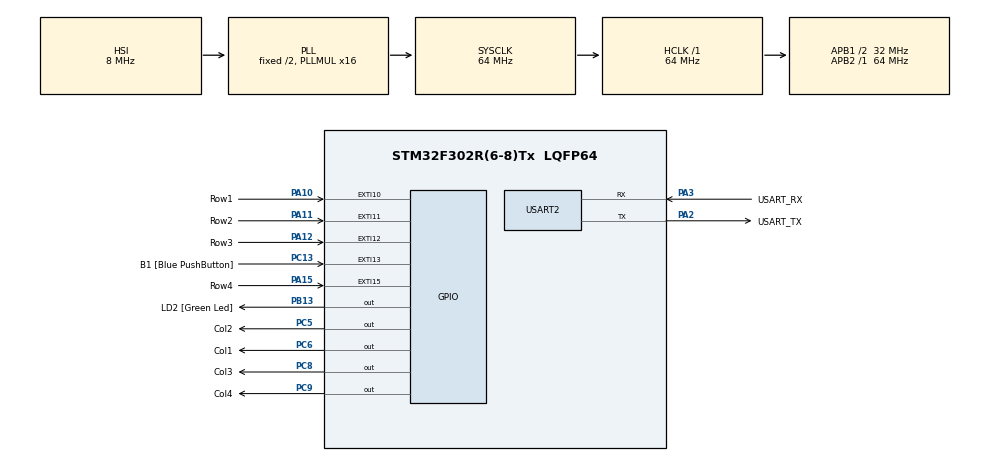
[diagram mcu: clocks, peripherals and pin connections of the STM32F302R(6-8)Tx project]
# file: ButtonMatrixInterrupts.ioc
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Mcu.Family=STM32F3
Mcu.Name=STM32F302R(6-8)Tx
Mcu.Package=LQFP64
NVIC.EXTI15_10_IRQn=true\:0\:0\:false\:false\:true\:true\:true
NVIC.PriorityGroup=NVIC_PRIORITYGROUP_0
PA10.GPIO_Label=Row1
PA10.GPIO_ModeDefaultEXTI=GPIO_MODE_IT_FALLING
PA10.GPIO_PuPd=GPIO_PULLUP
PA10.Signal=GPXTI10
PA11.GPIO_Label=Row2
PA11.GPIO_PuPd=GPIO_PULLUP
PA11.Signal=GPXTI11
PA12.GPIO_Label=Row3
PA12.GPIO_PuPd=GPIO_PULLUP
PA12.Signal=GPXTI12
PA13.GPIO_Label=TMS
PA13.Mode=Serial_Wire
PA13.Signal=SYS_JTMS-SWDIO
PA14.GPIO_Label=TCK
PA14.Mode=Serial_Wire
PA14.Signal=SYS_JTCK-SWCLK
PA15.GPIO_Label=Row4
PA15.GPIO_PuPd=GPIO_PULLUP
PA15.Signal=GPXTI15
PA2.GPIO_Label=USART_TX
PA2.GPIO_Mode=GPIO_MODE_AF_PP
PA2.GPIO_PuPd=GPIO_NOPULL
PA2.GPIO_Speed=GPIO_SPEED_FREQ_LOW
PA2.Mode=Asynchronous
PA2.Signal=USART2_TX
PA3.GPIO_Label=USART_RX
PA3.GPIO_Mode=GPIO_MODE_AF_PP
PA3.GPIO_PuPd=GPIO_NOPULL
PA3.GPIO_Speed=GPIO_SPEED_FREQ_LOW
PA3.Mode=Asynchronous
PA3.Signal=USART2_RX
PB13.GPIO_Label=LD2 [Green Led]
PB13.Signal=GPIO_Output
PB3.GPIO_Label=SWO
PB3.Mode=Trace_Asynchronous_SW
PB3.Signal=SYS_JTDO-TRACESWO
PC13.GPIO_Label=B1 [Blue PushButton]
PC13.GPIO_ModeDefaultEXTI=GPIO_MODE_IT_FALLING
PC13.Signal=GPXTI13
PC14\ -\ OSC32_IN.Mode=LSE-External-Oscillator
PC14\ -\ OSC32_IN.Signal=RCC_OSC32_IN
PC15\ -\ OSC32_OUT.Mode=LSE-External-Oscillator
PC15\ -\ OSC32_OUT.Signal=RCC_OSC32_OUT
PC5.GPIO_Label=Col2
PC5.Signal=GPIO_Output
PC6.GPIO_Label=Col1
PC6.Signal=GPIO_Output
PC8.GPIO_Label=Col3
PC8.Signal=GPIO_Output
PC9.GPIO_Label=Col4
PC9.Signal=GPIO_Output
PF0-OSC_IN.Mode=HSE-External-Clock-Source
PF0-OSC_IN.Signal=RCC_OSC_IN
PF1-OSC_OUT.Signal=RCC_OSC_OUT
ProjectManager.HeapSize=0x200
ProjectManager.StackSize=0x400
ProjectManager.TargetToolchain=STM32CubeIDE
RCC.AHBFreq_Value=64000000
RCC.APB1CLKDivider=RCC_HCLK_DIV2
RCC.APB1Freq_Value=32000000
RCC.APB1TimFreq_Value=64000000
RCC.APB2Freq_Value=64000000
RCC.APB2TimFreq_Value=64000000
RCC.CortexFreq_Value=64000000
RCC.HCLKFreq_Value=64000000
RCC.HSE_VALUE=8000000
RCC.HSI_VALUE=8000000
RCC.PLLM=8
RCC.PLLMUL=RCC_PLL_MUL16
RCC.PLLN=336
RCC.PLLP=RCC_PLLP_DIV4
RCC.PLLQ=7
RCC.RCC_PLLsource_Clock_Source_FROM_HSE=RCC_HSE_PREDIV_DIV2
RCC.SYSCLKFreq_VALUE=64000000
RCC.SYSCLKSourceVirtual=RCC_SYSCLKSOURCE_PLLCLK
RCC.USBFreq_Value=64000000
USART2.VirtualMode-Asynchronous=VM_ASYNC
board=NUCLEO-F302R8

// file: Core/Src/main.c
/* USER CODE BEGIN Header */
/**
  ******************************************************************************
  * @file           : main.c
  * @brief          : Main program body
  ******************************************************************************
  * @attention
  *
  * <h2><center>&copy; Copyright (c) 2022 STMicroelectronics.
  * All rights reserved.</center></h2>
  *
  * This software component is licensed by ST under BSD 3-Clause license,
  * the "License"; You may not use this file except in compliance with the
  * License. You may obtain a copy of the License at:
  *                        opensource.org/licenses/BSD-3-Clause
  *
  ******************************************************************************
  */
/* USER CODE END Header */
#include "main.h"

UART_HandleTypeDef huart2;

/* USER CODE BEGIN PV */
  GPIO_InitTypeDef GPIO_InitStructPrivate = {0};
  uint8_t keyPressed = 0;
  uint32_t previousMillis = 0;
  uint32_t currentMillis = 0;
/* USER CODE END PV */

void SystemClock_Config(void);
static void MX_GPIO_Init(void);
static void MX_USART2_UART_Init(void);

int main(void)
{

  /* MCU Configuration--------------------------------------------------------*/

  /* Reset of all peripherals, Initializes the Flash interface and the Systick. */
  HAL_Init();

  /* Configure the system clock */
  SystemClock_Config();

  /* Initialize all configured peripherals */
  MX_GPIO_Init();
  MX_USART2_UART_Init();
  /* USER CODE BEGIN 2 */

  HAL_GPIO_WritePin(Col1_GPIO_Port, Col1_Pin, GPIO_PIN_RESET);
  		  HAL_GPIO_WritePin(Col2_GPIO_Port, Col2_Pin, GPIO_PIN_RESET);
  		  HAL_GPIO_WritePin(Col3_GPIO_Port, Col3_Pin, GPIO_PIN_RESET);
  		  HAL_GPIO_WritePin(Col4_GPIO_Port, Col4_Pin, GPIO_PIN_RESET);

  /* USER CODE END 2 */

  /* Infinite loop */
  while (1)
  {

  }
}

void SystemClock_Config(void)
{
  RCC_OscInitTypeDef RCC_OscInitStruct = {0};
  RCC_ClkInitTypeDef RCC_ClkInitStruct = {0};

  /** Initializes the RCC Oscillators according to the specified parameters
  * in the RCC_OscInitTypeDef structure.
  */
  RCC_OscInitStruct.OscillatorType = RCC_OSCILLATORTYPE_HSI;
  RCC_OscInitStruct.HSIState = RCC_HSI_ON;
  RCC_OscInitStruct.HSICalibrationValue = RCC_HSICALIBRATION_DEFAULT;
  RCC_OscInitStruct.PLL.PLLState = RCC_PLL_ON;
  RCC_OscInitStruct.PLL.PLLSource = RCC_PLLSOURCE_HSI;
  RCC_OscInitStruct.PLL.PLLMUL = RCC_PLL_MUL16;
  if (HAL_RCC_OscConfig(&RCC_OscInitStruct) != HAL_OK)
  {
    Error_Handler();
  }
  /** Initializes the CPU, AHB and APB buses clocks
  */
  RCC_ClkInitStruct.ClockType = RCC_CLOCKTYPE_HCLK|RCC_CLOCKTYPE_SYSCLK
                              |RCC_CLOCKTYPE_PCLK1|RCC_CLOCKTYPE_PCLK2;
  RCC_ClkInitStruct.SYSCLKSource = RCC_SYSCLKSOURCE_PLLCLK;
  RCC_ClkInitStruct.AHBCLKDivider = RCC_SYSCLK_DIV1;
  RCC_ClkInitStruct.APB1CLKDivider = RCC_HCLK_DIV2;
  RCC_ClkInitStruct.APB2CLKDivider = RCC_HCLK_DIV1;

  if (HAL_RCC_ClockConfig(&RCC_ClkInitStruct, FLASH_LATENCY_2) != HAL_OK)
  {
    Error_Handler();
  }
}

static void MX_USART2_UART_Init(void)
{

  huart2.Instance = USART2;
  huart2.Init.BaudRate = 38400;
  huart2.Init.WordLength = UART_WORDLENGTH_8B;
  huart2.Init.StopBits = UART_STOPBITS_1;
  huart2.Init.Parity = UART_PARITY_NONE;
  huart2.Init.Mode = UART_MODE_TX_RX;
  huart2.Init.HwFlowCtl = UART_HWCONTROL_NONE;
  huart2.Init.OverSampling = UART_OVERSAMPLING_16;
  huart2.Init.OneBitSampling = UART_ONE_BIT_SAMPLE_DISABLE;
  huart2.AdvancedInit.AdvFeatureInit = UART_ADVFEATURE_NO_INIT;
  if (HAL_UART_Init(&huart2) != HAL_OK)
  {
    Error_Handler();
  }

}

static void MX_GPIO_Init(void)
{
  GPIO_InitTypeDef GPIO_InitStruct = {0};

  /* GPIO Ports Clock Enable */
  __HAL_RCC_GPIOC_CLK_ENABLE();
  __HAL_RCC_GPIOF_CLK_ENABLE();
  __HAL_RCC_GPIOA_CLK_ENABLE();
  __HAL_RCC_GPIOB_CLK_ENABLE();

  /*Configure GPIO pin Output Level */
  HAL_GPIO_WritePin(GPIOC, Col2_Pin|Col1_Pin|Col3_Pin|Col4_Pin, GPIO_PIN_RESET);

  /*Configure GPIO pin Output Level */
  HAL_GPIO_WritePin(LD2_GPIO_Port, LD2_Pin, GPIO_PIN_RESET);

  /*Configure GPIO pin : B1_Pin */
  GPIO_InitStruct.Pin = B1_Pin;
  GPIO_InitStruct.Mode = GPIO_MODE_IT_FALLING;
  GPIO_InitStruct.Pull = GPIO_NOPULL;
  HAL_GPIO_Init(B1_GPIO_Port, &GPIO_InitStruct);

  /*Configure GPIO pins : Col2_Pin Col1_Pin Col3_Pin Col4_Pin */
  GPIO_InitStruct.Pin = Col2_Pin|Col1_Pin|Col3_Pin|Col4_Pin;
  GPIO_InitStruct.Mode = GPIO_MODE_OUTPUT_PP;
  GPIO_InitStruct.Pull = GPIO_NOPULL;
  GPIO_InitStruct.Speed = GPIO_SPEED_FREQ_LOW;
  HAL_GPIO_Init(GPIOC, &GPIO_InitStruct);

  /*Configure GPIO pin : LD2_Pin */
  GPIO_InitStruct.Pin = LD2_Pin;
  GPIO_InitStruct.Mode = GPIO_MODE_OUTPUT_PP;
  GPIO_InitStruct.Pull = GPIO_NOPULL;
  GPIO_InitStruct.Speed = GPIO_SPEED_FREQ_LOW;
  HAL_GPIO_Init(LD2_GPIO_Port, &GPIO_InitStruct);

  /*Configure GPIO pin : Row1_Pin */
  GPIO_InitStruct.Pin = Row1_Pin;
  GPIO_InitStruct.Mode = GPIO_MODE_IT_FALLING;
  GPIO_InitStruct.Pull = GPIO_PULLUP;
  HAL_GPIO_Init(Row1_GPIO_Port, &GPIO_InitStruct);

  /*Configure GPIO pins : Row2_Pin Row3_Pin Row4_Pin */
  GPIO_InitStruct.Pin = Row2_Pin|Row3_Pin|Row4_Pin;
  GPIO_InitStruct.Mode = GPIO_MODE_IT_RISING;
  GPIO_InitStruct.Pull = GPIO_PULLUP;
  HAL_GPIO_Init(GPIOA, &GPIO_InitStruct);

  /* EXTI interrupt init*/
  HAL_NVIC_SetPriority(EXTI15_10_IRQn, 0, 0);
  HAL_NVIC_EnableIRQ(EXTI15_10_IRQn);

}

/* USER CODE BEGIN 4 */
void HAL_GPIO_EXTI_Callback(uint16_t GPIO_Pin)
{

	currentMillis = HAL_GetTick();
	if(currentMillis - previousMillis > 200)
	{
		GPIO_InitStructPrivate.Pin = Row1_Pin|Row2_Pin|Row3_Pin|Row4_Pin;
			GPIO_InitStructPrivate.Mode = GPIO_MODE_INPUT;
			GPIO_InitStructPrivate.Pull = GPIO_PULLUP;
			GPIO_InitStructPrivate.Speed = GPIO_SPEED_FREQ_LOW;
			HAL_GPIO_Init(GPIOA, &GPIO_InitStructPrivate);

		HAL_GPIO_WritePin(Col1_GPIO_Port, Col1_Pin, GPIO_PIN_RESET);
		  HAL_GPIO_WritePin(Col2_GPIO_Port, Col2_Pin, GPIO_PIN_SET);
		  HAL_GPIO_WritePin(Col3_GPIO_Port, Col3_Pin, GPIO_PIN_SET);
		  HAL_GPIO_WritePin(Col4_GPIO_Port, Col4_Pin, GPIO_PIN_SET);
	if(GPIO_Pin == Row1_Pin && HAL_GPIO_ReadPin(Row1_GPIO_Port, Row1_Pin) == GPIO_PIN_RESET)
	{
		keyPressed = 1;
	}
	if(GPIO_Pin == Row2_Pin && HAL_GPIO_ReadPin(Row2_GPIO_Port, Row2_Pin)== GPIO_PIN_RESET)
	{
		keyPressed = 5;
	}
	if(GPIO_Pin == Row3_Pin && HAL_GPIO_ReadPin(Row3_GPIO_Port, Row3_Pin)== GPIO_PIN_RESET)
		{
			keyPressed= 9;
		}
		if(GPIO_Pin == Row4_Pin && HAL_GPIO_ReadPin(Row4_GPIO_Port, Row4_Pin)== GPIO_PIN_RESET)
		{
			keyPressed = 13;
		}
		HAL_GPIO_WritePin(Col1_GPIO_Port, Col1_Pin, GPIO_PIN_SET);
				  HAL_GPIO_WritePin(Col2_GPIO_Port, Col2_Pin, GPIO_PIN_RESET);
				  HAL_GPIO_WritePin(Col3_GPIO_Port, Col3_Pin, GPIO_PIN_SET);
				  HAL_GPIO_WritePin(Col4_GPIO_Port, Col4_Pin, GPIO_PIN_SET);
				  if(GPIO_Pin == Row1_Pin && HAL_GPIO_ReadPin(Row1_GPIO_Port, Row1_Pin)== GPIO_PIN_RESET)
				  	{
				  		keyPressed = 2;
				  	}
				  	if(GPIO_Pin == Row2_Pin && HAL_GPIO_ReadPin(Row2_GPIO_Port, Row2_Pin)== GPIO_PIN_RESET)
				  	{
				  		keyPressed = 6;
				  	}
				  	if(GPIO_Pin == Row3_Pin && HAL_GPIO_ReadPin(Row3_GPIO_Port, Row3_Pin)== GPIO_PIN_RESET)
				  		{
				  			keyPressed= 10;
				  		}
				  		if(GPIO_Pin == Row4_Pin && HAL_GPIO_ReadPin(Row4_GPIO_Port, Row4_Pin)== GPIO_PIN_RESET)
				  		{
				  			keyPressed = 14;
				  		}
				  		HAL_GPIO_WritePin(Col1_GPIO_Port, Col1_Pin, GPIO_PIN_SET);
				  						  HAL_GPIO_WritePin(Col2_GPIO_Port, Col2_Pin, GPIO_PIN_SET);
				  						  HAL_GPIO_WritePin(Col3_GPIO_Port, Col3_Pin, GPIO_PIN_RESET);
				  						  HAL_GPIO_WritePin(Col4_GPIO_Port, Col4_Pin, GPIO_PIN_SET);
				  						  if(GPIO_Pin == Row1_Pin && HAL_GPIO_ReadPin(Row1_GPIO_Port, Row1_Pin)== GPIO_PIN_RESET)
				  						  	{
				  						  		keyPressed = 3;
				  						  	}
				  						  	if(GPIO_Pin == Row2_Pin && HAL_GPIO_ReadPin(Row2_GPIO_Port, Row2_Pin)== GPIO_PIN_RESET)
				  						  	{
				  						  		keyPressed = 7;
				  						  	}
				  						  	if(GPIO_Pin == Row3_Pin && HAL_GPIO_ReadPin(Row3_GPIO_Port, Row3_Pin)== GPIO_PIN_RESET)
				  						  		{
				  						  			keyPressed= 11;
				  						  		}
				  						  		if(GPIO_Pin == Row4_Pin && HAL_GPIO_ReadPin(Row4_GPIO_Port, Row4_Pin)== GPIO_PIN_RESET)
				  						  		{
				  						  			keyPressed = 15;
				  						  		}
				  						  	HAL_GPIO_WritePin(Col1_GPIO_Port, Col1_Pin, GPIO_PIN_SET);
				  						  					  HAL_GPIO_WritePin(Col2_GPIO_Port, Col2_Pin, GPIO_PIN_SET);
				  						  					  HAL_GPIO_WritePin(Col3_GPIO_Port, Col3_Pin, GPIO_PIN_SET);
				  						  					  HAL_GPIO_WritePin(Col4_GPIO_Port, Col4_Pin, GPIO_PIN_RESET);
				  						  					  if(GPIO_Pin == Row1_Pin && HAL_GPIO_ReadPin(Row1_GPIO_Port, Row1_Pin)== GPIO_PIN_RESET)
				  						  					  	{
				  						  					  		keyPressed = 4;
				  						  					  	}
				  						  					  	if(GPIO_Pin == Row2_Pin && HAL_GPIO_ReadPin(Row2_GPIO_Port, Row2_Pin)== GPIO_PIN_RESET)
				  						  					  	{
				  						  					  		keyPressed = 8;
				  						  					  	}
				  						  					  	if(GPIO_Pin == Row3_Pin && HAL_GPIO_ReadPin(Row3_GPIO_Port, Row3_Pin)== GPIO_PIN_RESET)
				  						  					  		{
				  						  					  			keyPressed= 12;
				  						  					  		}
				  						  					  		if(GPIO_Pin == Row4_Pin && HAL_GPIO_ReadPin(Row4_GPIO_Port, Row4_Pin)== GPIO_PIN_RESET)
				  						  					  		{
				  						  					  			keyPressed = 16;
				  						  					  		}

				  		HAL_GPIO_WritePin(Col1_GPIO_Port, Col1_Pin, GPIO_PIN_RESET);
				  		  		  HAL_GPIO_WritePin(Col2_GPIO_Port, Col2_Pin, GPIO_PIN_RESET);
				  		  		  HAL_GPIO_WritePin(Col3_GPIO_Port, Col3_Pin, GPIO_PIN_RESET);
				  		  		  HAL_GPIO_WritePin(Col4_GPIO_Port, Col4_Pin, GPIO_PIN_RESET);

				  		GPIO_InitStructPrivate.Mode = GPIO_MODE_IT_FALLING;
				  		GPIO_InitStructPrivate.Pull = GPIO_PULLUP;
				  		HAL_GPIO_Init(GPIOA, &GPIO_InitStructPrivate);
		previousMillis = currentMillis;
	}
}

/* USER CODE END 4 */

void Error_Handler(void)
{
}

/************************ (C) COPYRIGHT STMicroelectronics *****END OF FILE****/
